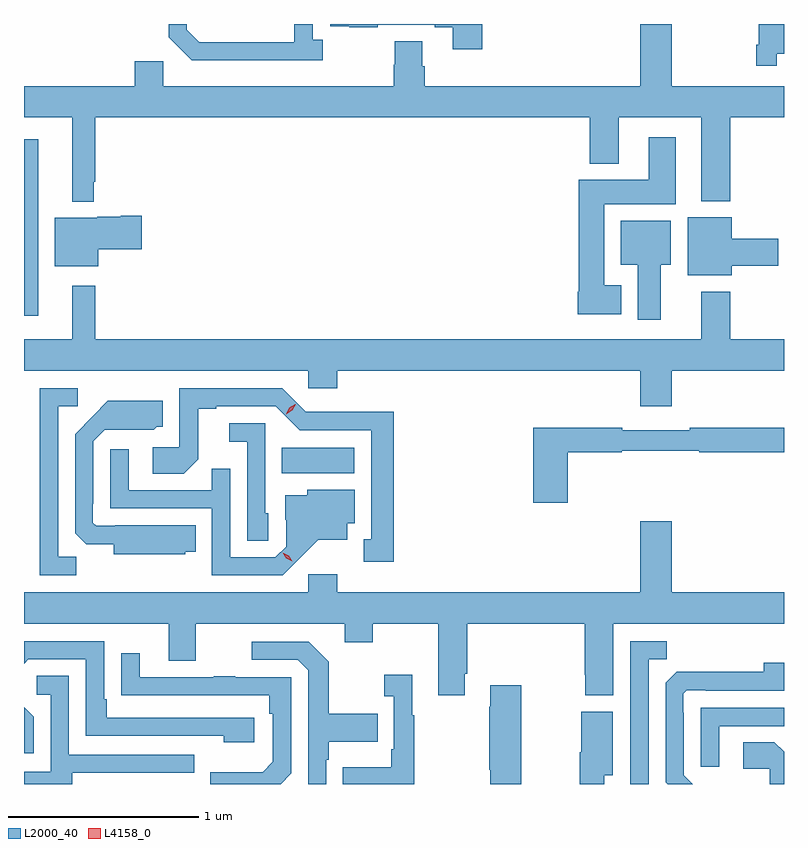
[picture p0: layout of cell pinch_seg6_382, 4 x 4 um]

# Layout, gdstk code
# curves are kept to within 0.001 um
import gdstk
lib = gdstk.Library(unit=1e-6, precision=1e-09)
def R(c, l, rs):  # rectangles x0, y0, x1, y1
    for r in rs: c.add(gdstk.rectangle(r[:2], r[2:], *l))
def P(c, l, *ps):  # polygons
    for p in ps: c.add(gdstk.Polygon(p, *l))
L2000_40 = (2000, 40)
L4158_0 = (4158, 0)

pinch_seg6_382 = lib.new_cell('pinch_seg6_382')
R(pinch_seg6_382, L2000_40, [(642.64,925.484,643.021,925.618), (641.284,926.313,641.359,927.241)])
P(pinch_seg6_382, L2000_40, [(641.651,927.019),(641.659,927.019),(641.659,927.356),(644.261,927.356),(644.261,927.113),(644.413,927.113),(644.413,927.356),(644.849,927.356),(644.849,926.915),(645.002,926.915),(645.002,927.356),(645.284,927.356),(645.284,927.52),(644.692,927.52),(644.692,927.848),(644.528,927.848),(644.528,927.52),(643.394,927.52),(643.394,927.626),(643.381,927.626),(643.381,927.758),(643.234,927.758),(643.234,927.633),(643.229,927.633),(643.229,927.52),(642.018,927.52),(642.018,927.652),(641.867,927.652),(641.867,927.52),(641.284,927.52),(641.284,927.356),(641.537,927.356),(641.537,926.912),(641.651,926.912)],
  [(643.697,927.848),(642.895,927.848),(642.895,927.837),(642.997,927.837),(642.997,927.831),(643.145,927.831),(643.145,927.843),(643.445,927.843),(643.445,927.831),(643.541,927.831),(643.541,927.714),(643.697,927.714)],
  [(645.246,927.692),(645.284,927.692),(645.284,927.848),(645.15,927.848),(645.15,927.739),(645.138,927.739),(645.138,927.627),(645.246,927.627)],
  [(642.856,927.766),(642.804,927.766),(642.804,927.848),(642.707,927.848),(642.707,927.753),(642.207,927.753),(642.141,927.819),(642.141,927.848),(642.045,927.848),(642.045,927.777),(642.166,927.656),(642.856,927.656)],
  [(644.428,926.473),(644.338,926.473),(644.338,926.9),(644.713,926.9),(644.713,927.253),(644.573,927.253),(644.573,927.028),(644.204,927.028),(644.204,926.439),(644.198,926.439),(644.198,926.321),(644.428,926.321)],
  [(641.674,926.662),(641.905,926.662),(641.905,926.84),(641.792,926.84),(641.792,926.833),(641.67,926.833),(641.67,926.827),(641.447,926.827),(641.447,926.573),(641.674,926.573)],
  [(645.01,926.575),(645.253,926.575),(645.253,926.717),(645.01,926.717),(645.01,926.83),(644.777,926.83),(644.777,926.525),(645.01,926.525)],
  [(644.635,926.582),(644.689,926.582),(644.689,926.812),(644.426,926.812),(644.426,926.582),(644.513,926.582),(644.513,926.292),(644.635,926.292)],
  [(644.692,926.024),(645.284,926.024),(645.284,926.188),(645.002,926.188),(645.002,926.44),(644.849,926.44),(644.849,926.188),(641.659,926.188),(641.659,926.47),(641.537,926.47),(641.537,926.188),(641.284,926.188),(641.284,926.024),(642.78,926.024),(642.78,925.931),(642.932,925.931),(642.932,926.024),(644.528,926.024),(644.528,925.836),(644.692,925.836)],
  [(643.231,925.808),(642.99,925.808),(642.99,925.806),(642.768,925.806),(642.642,925.932),(642.102,925.932),(642.102,925.62),(641.961,925.62),(641.961,925.48),(642.125,925.48),(642.201,925.556),(642.201,925.824),(642.295,925.824),(642.295,925.836),(642.609,925.836),(642.735,925.71),(643.112,925.71),(643.112,925.137),(643.073,925.137),(643.073,925.017),(643.231,925.017)],
  [(641.559,925.043),(641.463,925.043),(641.463,925.836),(641.566,925.836),(641.566,925.932),(641.367,925.932),(641.367,924.948),(641.559,924.948)],
  [(642.132,925.07),(642.188,925.07),(642.188,925.21),(641.764,925.21),(641.764,925.206),(641.664,925.206),(641.646,925.224),(641.646,925.324),(641.649,925.324),(641.649,925.653),(641.709,925.713),(641.966,925.712),(641.982,925.728),(642.013,925.728),(642.013,925.864),(641.725,925.864),(641.553,925.69),(641.553,925.168),(641.612,925.109),(641.756,925.109),(641.756,925.058),(642.132,925.058)],
  [(642.57,925.272),(642.555,925.272),(642.555,925.746),(642.363,925.746),(642.363,925.649),(642.459,925.649),(642.459,925.129),(642.57,925.129)],
  [(644.147,925.594),(644.43,925.594),(644.43,925.602),(644.838,925.602),(644.838,925.594),(645.284,925.594),(645.284,925.723),(644.788,925.723),(644.788,925.71),(644.432,925.71),(644.432,925.723),(643.964,925.723),(643.964,925.329),(644.147,925.329)],
  [(642.73,925.031),(642.833,925.133),(642.985,925.133),(642.985,925.22),(643.024,925.22),(643.024,925.396),(642.774,925.396),(642.774,925.369),(642.659,925.369),(642.659,925.24),(642.663,925.24),(642.663,925.098),(642.606,925.041),(642.369,925.041),(642.369,925.508),(642.271,925.508),(642.271,925.395),(641.835,925.395),(641.835,925.609),(641.739,925.609),(641.739,925.299),(642.273,925.299),(642.273,924.948),(642.646,924.948)],
  [(644.386,924.692),(645.284,924.692),(645.284,924.856),(644.692,924.856),(644.692,925.231),(644.528,925.231),(644.528,924.856),(642.932,924.856),(642.932,924.952),(642.78,924.952),(642.78,924.856),(641.284,924.856),(641.284,924.692),(642.047,924.692),(642.047,924.498),(642.187,924.498),(642.187,924.692),(642.971,924.692),(642.971,924.593),(643.119,924.593),(643.119,924.692),(643.463,924.692),(643.463,924.315),(643.603,924.315),(643.603,924.427),(643.616,924.427),(643.616,924.692),(644.234,924.692),(644.234,924.424),(644.239,924.424),(644.239,924.314),(644.386,924.314)],
  [(642.496,924.198),(641.719,924.198),(641.719,924.295),(641.706,924.295),(641.706,924.6),(641.284,924.6),(641.284,924.481),(641.307,924.504),(641.61,924.504),(641.61,924.102),(642.335,924.102),(642.335,924.068),(642.496,924.068)],
  [(644.571,924.505),(644.667,924.505),(644.667,924.6),(644.475,924.6),(644.475,923.848),(644.571,923.848)],
  [(642.876,923.975),(642.889,923.975),(642.889,924.071),(643.145,924.071),(643.145,924.219),(642.889,924.219),(642.889,924.491),(642.783,924.597),(642.483,924.597),(642.483,924.501),(642.726,924.501),(642.78,924.447),(642.78,923.848),(642.876,923.848)],
  [(642.69,923.904),(642.69,924.411),(642.395,924.411),(642.395,924.416),(642.283,924.416),(642.283,924.411),(641.893,924.411),(641.893,924.535),(641.797,924.535),(641.797,924.316),(642.574,924.315),(642.574,924.218),(642.594,924.218),(642.594,923.964),(642.541,923.911),(642.264,923.911),(642.264,923.848),(642.634,923.848)],
  [(644.757,923.895),(644.757,924.224),(644.754,924.224),(644.754,924.324),(644.772,924.342),(644.872,924.342),(644.872,924.339),(645.284,924.339),(645.284,924.487),(645.178,924.487),(645.178,924.44),(644.72,924.439),(644.661,924.38),(644.661,923.858),(644.671,923.848),(644.804,923.848)],
  [(643.339,924.211),(643.327,924.211),(643.327,924.424),(643.179,924.424),(643.179,924.311),(643.23,924.311),(643.23,924.031),(643.218,924.031),(643.218,923.935),(642.961,923.935),(642.961,923.848),(643.339,923.848)],
  [(641.539,923.907),(642.179,923.907),(642.179,924.003),(641.52,924.003),(641.52,924.419),(641.352,924.419),(641.352,924.318),(641.424,924.318),(641.424,923.913),(641.284,923.913),(641.284,923.848),(641.539,923.848)],
  [(643.902,924.367),(643.739,924.367),(643.739,924.254),(643.732,924.254),(643.732,923.923),(643.739,923.923),(643.739,923.848),(643.902,923.848)],
  [(641.334,924.202),(641.284,924.252),(641.284,924.009),(641.334,924.009)],
  [(644.943,924.153),(645.284,924.153),(645.284,924.249),(644.847,924.249),(644.847,923.94),(644.943,923.94)],
  [(644.338,923.894),(644.383,923.894),(644.383,924.229),(644.216,924.229),(644.216,924.015),(644.209,924.015),(644.209,923.848),(644.338,923.848)],
  [(645.284,924.017),(645.233,924.068),(645.069,924.068),(645.069,923.928),(645.21,923.928),(645.21,923.848),(645.284,923.848)])
P(pinch_seg6_382, L4158_0, [(642.664,925.794),(642.664,925.795),(642.681,925.827),(642.712,925.846),(642.713,925.846),(642.713,925.846),(642.696,925.814),(642.665,925.794)],
  [(642.695,925.02),(642.664,925.035),(642.646,925.065),(642.646,925.065),(642.647,925.065),(642.677,925.05),(642.695,925.021),(642.695,925.02)])

lib.write_gds('pinch_seg6_382.gds')
